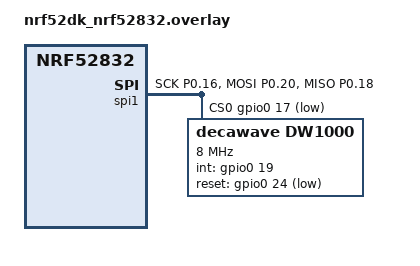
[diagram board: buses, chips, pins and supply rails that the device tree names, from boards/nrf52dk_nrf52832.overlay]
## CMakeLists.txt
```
cmake_minimum_required(VERSION 3.20.0)

# *** NOTE — Why we do NOT use add_subdirectory() here ***
#
# When a sample CMakeLists.txt calls add_subdirectory(drivers/dw1000), Zephyr
# is already in "application mode" (the zephyr_prebuilt target exists after
# find_package).  In application mode zephyr_library() inside the subdirectory
# does NOT add the library to the ZEPHYR_LIBS link set — the symbols are
# compiled but never linked.  This is the Zephyr-documented limitation (see
# zephyr_append_cmake_library warning message in extensions.cmake).
#
# The correct pattern for samples that live outside the NCS module tree:
# compile the driver sources directly into the 'app' target.

find_package(Zephyr REQUIRED HINTS $ENV{ZEPHYR_BASE})
project(dw1000_config_sample VERSION 0.1.0)

set(DW1000_DIR ${CMAKE_CURRENT_SOURCE_DIR}/../../drivers/dw1000)

target_sources(app PRIVATE
    src/main.c
    ${DW1000_DIR}/deca_driver/deca_device.c
    ${DW1000_DIR}/deca_driver/deca_params_init.c
    ${DW1000_DIR}/port/deca_port.c   # strong SPI/GPIO port defs (no stub needed)
    ${DW1000_DIR}/dw1000_config.c
)

target_include_directories(app PRIVATE
    ${DW1000_DIR}/deca_driver   # deca_device_api.h, deca_regs.h
    ${DW1000_DIR}/port          # deca_port.h
    ${DW1000_DIR}               # dw1000_config.h, phy_config.h
)

# deca_port.c includes <zephyr/drivers/spi.h> which pulls in offsets.h
# (generated at build time).  Same dependency as in drivers/dw1000/CMakeLists.
add_dependencies(app offsets_h)
```

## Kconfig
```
# samples/dw1000_config/Kconfig
#
# Kconfig root for the dw1000_config sample.
#
# Zephyr's build system uses APPLICATION_SOURCE_DIR/Kconfig as the Kconfig root
# when it exists.  Because samples live outside the repo root, they need their
# own Kconfig to source the DW1000 driver config at the correct relative path.

source "$(ZEPHYR_BASE)/Kconfig"
source "$(APPLICATION_SOURCE_DIR)/../../drivers/dw1000/Kconfig"
```

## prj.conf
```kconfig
# samples/dw1000_config/prj.conf
# DW1000 PHY configuration sample — project configuration

# ---------------------------------------------------------------------------
# DW1000 UWB transceiver driver
# ---------------------------------------------------------------------------
CONFIG_DW1000=y
CONFIG_SPI=y
CONFIG_GPIO=y

# ---------------------------------------------------------------------------
# Logging
# ---------------------------------------------------------------------------
CONFIG_LOG=y
CONFIG_LOG_DEFAULT_LEVEL=3
CONFIG_LOG_BACKEND_RTT=y
CONFIG_USE_SEGGER_RTT=y
CONFIG_LOG_BACKEND_UART=y
CONFIG_BOOT_BANNER=y

# ---------------------------------------------------------------------------
# Console
# ---------------------------------------------------------------------------
CONFIG_SERIAL=y
CONFIG_UART_CONSOLE=y

CONFIG_SYSTEM_WORKQUEUE_STACK_SIZE=2048
```

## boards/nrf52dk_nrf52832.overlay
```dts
/*
 * DWM1001 module overlay for the dw1000_config sample.
 *
 * Identical to samples/dw1000_devid/boards/nrf52dk_nrf52832.overlay.
 * Duplicated because each Zephyr application sources its own board overlay.
 */

#include <zephyr/dt-bindings/gpio/gpio.h>

&pinctrl {
	spi1_default: spi1_default {
		group1 {
			psels = <NRF_PSEL(SPIM_SCK,  0, 16)>,
				<NRF_PSEL(SPIM_MOSI, 0, 20)>,
				<NRF_PSEL(SPIM_MISO, 0, 18)>;
		};
	};

	spi1_sleep: spi1_sleep {
		group1 {
			psels = <NRF_PSEL(SPIM_SCK,  0, 16)>,
				<NRF_PSEL(SPIM_MOSI, 0, 20)>,
				<NRF_PSEL(SPIM_MISO, 0, 18)>;
			low-power-enable;
		};
	};
};

&spi1 {
	compatible = "nordic,nrf-spi";
	status = "okay";
	pinctrl-0 = <&spi1_default>;
	pinctrl-1 = <&spi1_sleep>;
	pinctrl-names = "default", "sleep";
	cs-gpios = <&gpio0 17 GPIO_ACTIVE_LOW>;

	dw1000: dw1000@0 {
		compatible = "decawave,dw1000";
		reg = <0>;
		spi-max-frequency = <8000000>;
		int-gpios   = <&gpio0 19 GPIO_ACTIVE_HIGH>;
		reset-gpios = <&gpio0 24 GPIO_ACTIVE_LOW>;
	};
};
```

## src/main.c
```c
/*! ----------------------------------------------------------------------------
 * @file    main.c
 * @brief   DW1000 PHY configuration sample (UWB-155)
 *
 * Runs dw1000_configure() then reads back the three key DW1000 registers
 * (CHAN_CTRL, TX_FCTRL, SYS_CFG) and logs their values.  Expected output on
 * a real DWM1001 module reflects the parameters set by dw1000_configure():
 *
 *   CHAN_CTRL (0x1F):  channel + PRF + preamble codes
 *   TX_FCTRL (0x08):  data rate + PRF + preamble length (low 32 bits)
 *   SYS_CFG  (0x04):  PHR mode + RX data rate indicator
 *
 * NOTE: This sample requires an on-target run with a real DWM1001 module.
 *       For headless CI verification see tests/dw1000_config/ (ztest).
 *
 * Build:   west build -b nrf52dk_nrf52832 samples/dw1000_config
 * Flash:   west flash
 *
 * @attention
 * SPDX-License-Identifier: MIT
 * Copyright (c) 2024 Fundamentals UWB project contributors.
 */

#include <zephyr/kernel.h>
#include <zephyr/logging/log.h>

#include "deca_device_api.h"
#include "deca_regs.h"
#include "deca_port.h"
#include "dw1000_config.h"

LOG_MODULE_REGISTER(dw1000_config_sample, LOG_LEVEL_DBG);

int main(void)
{
    int ret;

    LOG_INF("DW1000 PHY configuration sample starting");

    /* Initialise port layer (SPI config, GPIOs, deferred ISR work item). */
    ret = dw1000_port_init();
    if (ret < 0) {
        LOG_ERR("dw1000_port_init failed: %d", ret);
        return ret;
    }

    /*
     * Run the full PHY configuration sequence:
     *   reset -> slow SPI -> dwt_initialise(DWT_LOADUCODE)
     *   -> fast SPI -> dwt_configure -> dwt_configuretxrf
     */
    ret = dw1000_configure();
    if (ret < 0) {
        LOG_ERR("dw1000_configure failed: %d — check SPI wiring", ret);
        return ret;
    }

    LOG_INF("dw1000_configure() OK — reading back key registers");

    /*
     * Read back the three key configuration registers to confirm the PHY
     * parameters were accepted by the DW1000 hardware.
     *
     * CHAN_CTRL (register 0x1F, 4 bytes):
     *   bits  [3:0]  TX channel
     *   bits  [7:4]  RX channel
     *   bits [18:18] DWSFD (non-standard SFD enable)
     *   bits [19:18] RX PRF
     *   bits [26:22] TX preamble code
     *   bits [31:27] RX preamble code
     *
     * TX_FCTRL (register 0x08, 5 bytes; we read low 32 bits):
     *   bits [14:13] TX bit rate
     *   bits [17:16] TX PRF
     *   bits [21:18] TX preamble length (TXPSR + PE)
     *
     * SYS_CFG (register 0x04, 4 bytes):
     *   bits [17:16] PHR mode
     *   bit  [22]    RXM110K (1 = 110 kbps RX mode; 0 = not 110 kbps)
     *
     * For channel 5 / PRF 64 MHz / PLEN 64 / 6.8 Mbps / std PHR:
     *   Expected CHAN_CTRL low byte:  0x55 (TX ch5 | RX ch5)
     *   Expected TX_FCTRL rate bits:  0x4000 (DWT_BR_6M8 << 13)
     *   Expected TX_FCTRL PRF bits:   0x20000 (PRF64M << 16)
     *   Expected TX_FCTRL PLEN bits:  0x40000 (PLEN_64 bits 21:18)
     *   Expected SYS_CFG PHR bits:    0x00000000 (PHR_MODE_STD = 0)
     */
    uint32 chan_ctrl = dwt_read32bitreg(CHAN_CTRL_ID);
    uint32 tx_fctrl = dwt_read32bitreg(TX_FCTRL_ID);
    uint32 sys_cfg  = dwt_read32bitreg(SYS_CFG_ID);

    LOG_INF("CHAN_CTRL (0x1F) = 0x%08X", (unsigned)chan_ctrl);
    LOG_INF("  TX channel:   %u (expected %u)",
            (unsigned)(chan_ctrl & CHAN_CTRL_TX_CHAN_MASK),
            (unsigned)CONFIG_DW1000_PHY_CHANNEL);
    LOG_INF("  RX channel:   %u (expected %u)",
            (unsigned)((chan_ctrl & CHAN_CTRL_RX_CHAN_MASK) >> CHAN_CTRL_RX_CHAN_SHIFT),
            (unsigned)CONFIG_DW1000_PHY_CHANNEL);
    LOG_INF("  RX PRF bits:  0x%05X (expected 0x%05X for PRF64M)",
            (unsigned)(chan_ctrl & CHAN_CTRL_RXFPRF_MASK),
            (unsigned)CHAN_CTRL_RXFPRF_64);
    LOG_INF("  TX pcode:     %u (expected %u)",
            (unsigned)((chan_ctrl & CHAN_CTRL_TX_PCOD_MASK) >> CHAN_CTRL_TX_PCOD_SHIFT),
            (unsigned)CONFIG_DW1000_PHY_TX_CODE);
    LOG_INF("  RX pcode:     %u (expected %u)",
            (unsigned)((chan_ctrl & CHAN_CTRL_RX_PCOD_MASK) >> CHAN_CTRL_RX_PCOD_SHIFT),
            (unsigned)CONFIG_DW1000_PHY_RX_CODE);

    LOG_INF("TX_FCTRL (0x08) low 32-bit = 0x%08X", (unsigned)tx_fctrl);
    LOG_INF("  TX bit rate bits: 0x%05X (expected 0x%05X for 6M8)",
            (unsigned)(tx_fctrl & TX_FCTRL_TXBR_MASK),
            (unsigned)TX_FCTRL_TXBR_6M);
    LOG_INF("  TX PRF bits:      0x%05X (expected 0x%05X for 64M)",
            (unsigned)(tx_fctrl & TX_FCTRL_TXPRF_MASK),
            (unsigned)TX_FCTRL_TXPRF_64M);
    LOG_INF("  TX PLEN bits:     0x%05X (expected 0x%05X for PLEN_64)",
            (unsigned)(tx_fctrl & TX_FCTRL_TXPSR_PE_MASK),
            (unsigned)TX_FCTRL_TXPSR_PE_64);

    LOG_INF("SYS_CFG  (0x04) = 0x%08X", (unsigned)sys_cfg);
    LOG_INF("  PHR mode bits: 0x%05X (expected 0x00000000 for STD)",
            (unsigned)(sys_cfg & SYS_CFG_PHR_MODE_11));
    LOG_INF("  RXM110K bit:   %u (expected 0 for non-110K mode)",
            (unsigned)((sys_cfg & SYS_CFG_RXM110K) ? 1u : 0u));

    LOG_INF("Register readback complete — requires on-device verification");
    LOG_INF("For automated CI checks see tests/dw1000_config/ (unit_testing)");

    /* Idle. */
    while (1) {
        k_sleep(K_MSEC(5000));
        LOG_DBG("Heartbeat — PHY configured, idle");
    }

    return 0;
}
```
